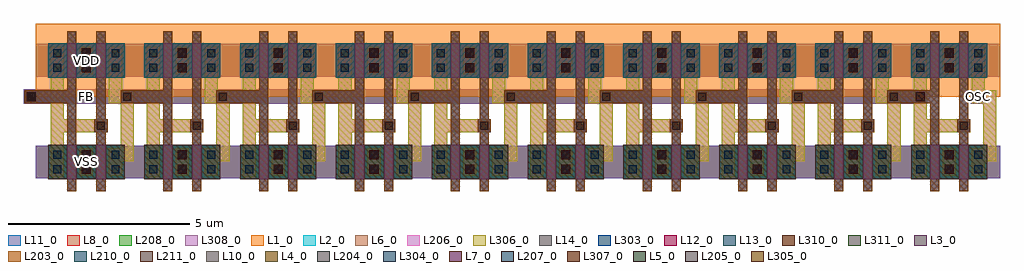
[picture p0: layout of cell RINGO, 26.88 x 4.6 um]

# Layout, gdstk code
import gdstk
lib = gdstk.Library(unit=1e-6, precision=1e-09)
def R(c, l, rs):  # rectangles x0, y0, x1, y1
    for r in rs: c.add(gdstk.rectangle(r[:2], r[2:], *l))
def A(c, l, x, y, w, h, nx, ny, dx, dy):  # array of equal rectangles
    R(c, l, [(x+i*dx, y+j*dy, x+i*dx+w, y+j*dy+h) for i in range(nx) for j in range(ny)])
def P(c, l, *ps):  # polygons
    for p in ps: c.add(gdstk.Polygon(p, *l))
L1_0 = (1, 0)
L2_0 = (2, 0)
L3_0 = (3, 0)
L4_0 = (4, 0)
L5_0 = (5, 0)
L6_0 = (6, 0)
L7_0 = (7, 0)
L8_0 = (8, 0)
L10_0 = (10, 0)
L11_0 = (11, 0)
L12_0 = (12, 0)
L13_0 = (13, 0)
L14_0 = (14, 0)
L203_0 = (203, 0)
L204_0 = (204, 0)
L205_0 = (205, 0)
L206_0 = (206, 0)
L207_0 = (207, 0)
L208_0 = (208, 0)
L210_0 = (210, 0)
L211_0 = (211, 0)
L303_0 = (303, 0)
L304_0 = (304, 0)
L305_0 = (305, 0)
L306_0 = (306, 0)
L307_0 = (307, 0)
L308_0 = (308, 0)
L310_0 = (310, 0)
L311_0 = (311, 0)

net_trans__1 = lib.new_cell('NET_TRANS_$1')
R(net_trans__1, L204_0, [(-0.51,-0.31,-0.29,-0.09), (-0.51,0.09,-0.29,0.31)])
R(net_trans__1, L206_0, [(-0.58,-0.38,-0.22,0.38)])

net_trans__2 = lib.new_cell('NET_TRANS_$2')
R(net_trans__2, L204_0, [(0.29,-0.31,0.51,-0.09), (0.29,0.09,0.51,0.31)])
R(net_trans__2, L206_0, [(0.22,-0.38,0.58,0.38)])

net_trans__3 = lib.new_cell('NET_TRANS_$3')
R(net_trans__3, L203_0, [(-0.125,-0.8,0.125,0.8)])

trans = lib.new_cell('TRANS')
R(trans, L2_0, [(-0.65,-0.475,0.65,0.475)])
R(trans, L4_0, [(-0.51,-0.31,-0.29,-0.09), (0.29,-0.31,0.51,-0.09), (-0.51,0.09,-0.29,0.31), (0.29,0.09,0.51,0.31)])
R(trans, L6_0, [(-0.58,-0.38,-0.22,0.38), (0.22,-0.38,0.58,0.38)])
R(trans, L14_0, [(-0.125,-0.8,0.125,0.8)])
trans.add(gdstk.FlexPath([(0,-0.8),(0,0.8)], 0.25, ends="flush", simple_path=True, layer=3, datatype=0))  # L3_0
trans.add(gdstk.Reference(net_trans__1, (0,0)))
trans.add(gdstk.Reference(net_trans__2, (0,0)))
trans.add(gdstk.Reference(net_trans__3, (0,0)))

net_inv2_in = lib.new_cell('NET_INV2_IN')
R(net_inv2_in, L203_0, [(-0.525,-0.25,-0.275,2.25), (-1.7,1.62,-0.4,1.98)])
R(net_inv2_in, L205_0, [(-1.63,1.69,-1.41,1.91)])

net_inv2__2 = lib.new_cell('NET_INV2_$2')
R(net_inv2__2, L203_0, [(0.275,-0.25,0.525,2.25), (0.22,0.82,0.58,1.18)])
R(net_inv2__2, L205_0, [(0.29,0.89,0.51,1.11)])
R(net_inv2__2, L206_0, [(-0.98,-0.42,-0.62,2.42), (-0.8,0.82,0.58,1.18)])
R(net_inv2__2, L210_0, [(-1.05,2.325,-0.525,3.275)])
R(net_inv2__2, L211_0, [(-1.05,-0.475,-0.525,0.475)])

net_inv2_out = lib.new_cell('NET_INV2_OUT')
P(net_inv2_out, L206_0, [(0.8,0.02),(0.8,0.38),(0.94,0.38),(0.94,1.62),(0.62,1.62),(0.62,2.42),(0.98,2.42),(0.98,1.98),(1.3,1.98),(1.3,0.02)])
R(net_inv2_out, L210_0, [(0.525,2.325,1.05,3.275)])
R(net_inv2_out, L211_0, [(0.525,-0.475,1.05,0.475)])

net_inv2__4 = lib.new_cell('NET_INV2_$4')
R(net_inv2__4, L207_0, [(-0.125,-0.325,0.125,-0.075), (-0.125,0.075,0.125,0.325)])
R(net_inv2__4, L208_0, [(-1.4,-0.45,1.4,0.45)])
R(net_inv2__4, L211_0, [(-0.275,-0.475,0.275,0.475)])

net_inv2__5 = lib.new_cell('NET_INV2_$5')
R(net_inv2__5, L207_0, [(-0.125,2.475,0.125,2.725), (-0.125,2.875,0.125,3.125)])
R(net_inv2__5, L208_0, [(-1.4,2.35,1.4,3.25)])
R(net_inv2__5, L210_0, [(-0.275,2.325,0.275,3.275)])

d_pmos = lib.new_cell('D$PMOS')
R(d_pmos, L11_0, [(-0.65,-0.475,-0.125,0.475), (0.125,-0.475,0.675,0.475)])
R(d_pmos, L12_0, [(-0.65,-0.475,-0.125,0.475), (0.125,-0.475,0.675,0.475)])
R(d_pmos, L14_0, [(-0.125,-0.475,0.125,0.475)])

d_pmos_1 = lib.new_cell('D$PMOS$1')
R(d_pmos_1, L11_0, [(-0.675,-0.475,-0.125,0.475), (0.125,-0.475,0.65,0.475)])
R(d_pmos_1, L12_0, [(-0.675,-0.475,-0.125,0.475), (0.125,-0.475,0.65,0.475)])
R(d_pmos_1, L14_0, [(-0.125,-0.475,0.125,0.475)])

d_nmos = lib.new_cell('D$NMOS')
R(d_nmos, L11_0, [(-0.65,-0.475,-0.125,0.475), (0.125,-0.475,0.675,0.475)])
R(d_nmos, L13_0, [(-0.65,-0.475,-0.125,0.475), (0.125,-0.475,0.675,0.475)])
R(d_nmos, L14_0, [(-0.125,-0.475,0.125,0.475)])

d_nmos_1 = lib.new_cell('D$NMOS$1')
R(d_nmos_1, L11_0, [(-0.675,-0.475,-0.125,0.475), (0.125,-0.475,0.65,0.475)])
R(d_nmos_1, L13_0, [(-0.675,-0.475,-0.125,0.475), (0.125,-0.475,0.65,0.475)])
R(d_nmos_1, L14_0, [(-0.125,-0.475,0.125,0.475)])

inv2 = lib.new_cell('INV2')
R(inv2, L1_0, [(-1.4,1.8,1.4,3.8)])
R(inv2, L3_0, [(-0.525,-0.25,-0.275,2.25), (0.275,-0.25,0.525,2.25), (0.22,0.82,0.58,1.18), (-1.7,1.62,-0.4,1.98)])
R(inv2, L5_0, [(0.29,0.89,0.51,1.11), (-1.63,1.69,-1.41,1.91)])
R(inv2, L6_0, [(-0.98,-0.42,-0.62,2.42), (-0.8,0.82,0.58,1.18)])
R(inv2, L7_0, [(-0.125,-0.325,0.125,-0.075), (-0.125,0.075,0.125,0.325), (-0.125,2.475,0.125,2.725), (-0.125,2.875,0.125,3.125)])
R(inv2, L8_0, [(-1.4,-0.45,1.4,0.45), (-1.4,2.35,1.4,3.25)])
R(inv2, L10_0, [(-0.525,-0.475,-0.275,0.475), (0.275,-0.475,0.525,0.475), (-0.525,2.325,-0.275,3.275), (0.275,2.325,0.525,3.275)])
R(inv2, L11_0, [(-1.05,-0.475,-0.525,0.475), (-0.275,-0.475,0.275,0.475), (0.525,-0.475,1.05,0.475), (-1.05,2.325,-0.525,3.275), (-0.275,2.325,0.275,3.275), (0.525,2.325,1.05,3.275)])
R(inv2, L12_0, [(-1.05,2.325,-0.525,3.275), (-0.275,2.325,0.275,3.275), (0.525,2.325,1.05,3.275)])
R(inv2, L13_0, [(-1.05,-0.475,-0.525,0.475), (-0.275,-0.475,0.275,0.475), (0.525,-0.475,1.05,0.475)])
R(inv2, L14_0, [(-0.525,-0.25,-0.275,2.25), (0.275,-0.25,0.525,2.25), (0.22,0.82,0.58,1.18), (-1.7,1.62,-0.4,1.98)])
inv2.add(gdstk.FlexPath([(0.8,0.2),(1.12,0.2),(1.12,1.8),(0.8,1.8),(0.8,2.42)], 0.36, ends="flush", simple_path=True, layer=6, datatype=0))  # L6_0
inv2.add(gdstk.Reference(trans, (-0.4,0)))
inv2.add(gdstk.Reference(trans, (-0.4,2.8)))
inv2.add(gdstk.Reference(trans, (0.4,0), x_reflection=True))
inv2.add(gdstk.Reference(trans, (0.4,2.8), x_reflection=True))
inv2.add(gdstk.Reference(net_inv2_in, (0,0)))
inv2.add(gdstk.Reference(net_inv2__2, (0,0)))
inv2.add(gdstk.Reference(net_inv2_out, (0,0)))
inv2.add(gdstk.Reference(net_inv2__4, (0,0)))
inv2.add(gdstk.Reference(net_inv2__5, (0,0)))
inv2.add(gdstk.Reference(d_pmos, (-0.4,2.8)))
inv2.add(gdstk.Reference(d_pmos_1, (0.4,2.8)))
inv2.add(gdstk.Reference(d_nmos, (-0.4,0)))
inv2.add(gdstk.Reference(d_nmos_1, (0.4,0)))
inv2.add(gdstk.Label('IN', (-0.8,1.8), layer=3, texttype=1))
inv2.add(gdstk.Label('OUT', (0.8,1.8), layer=6, texttype=1))

net_ringo_fb = lib.new_cell('NET_RINGO_FB')
R(net_ringo_fb, L206_0, [(-1.7,1.62,-1.34,1.98)])
R(net_ringo_fb, L207_0, [(-1.645,1.675,-1.395,1.925), (22.835,1.675,23.085,1.925)])
R(net_ringo_fb, L208_0, [(-1.72,1.6,23.16,2)])

net_ringo_osc = lib.new_cell('NET_RINGO_OSC')
R(net_ringo_osc, L207_0, [(24.435,1.675,24.685,1.925)])
R(net_ringo_osc, L208_0, [(24.36,1.6,24.76,2)])

rnet_ringo_fb = lib.new_cell('RNET_RINGO_FB')
R(rnet_ringo_fb, L303_0, [(-0.525,-0.8,-0.275,0.8), (24.035,-0.8,24.285,0.8), (-0.525,-0.475,-0.275,0.475), (24.035,-0.475,24.285,0.475), (-0.525,-0.25,-0.275,2.25), (24.035,-0.25,24.285,2.25), (23.98,0.82,24.34,1.18), (-1.7,1.62,-0.4,1.98), (-0.525,2,-0.275,3.6), (24.035,2,24.285,3.6), (-0.525,2.325,-0.275,3.275), (24.035,2.325,24.285,3.275)])
R(rnet_ringo_fb, L304_0, [(22.85,-0.31,23.07,-0.09), (22.85,0.09,23.07,0.31), (22.85,2.49,23.07,2.71), (22.85,2.89,23.07,3.11)])
R(rnet_ringo_fb, L305_0, [(24.05,0.89,24.27,1.11), (-1.63,1.69,-1.41,1.91)])
R(rnet_ringo_fb, L306_0, [(22.78,-0.42,23.14,2.42), (22.78,-0.38,23.14,0.38), (22.96,0.82,24.34,1.18), (-1.7,1.62,-1.34,1.98), (22.78,2.42,23.14,3.18)])
R(rnet_ringo_fb, L307_0, [(-1.645,1.675,-1.395,1.925), (22.835,1.675,23.085,1.925)])
R(rnet_ringo_fb, L308_0, [(-1.72,1.6,23.16,2)])
R(rnet_ringo_fb, L310_0, [(22.71,2.325,23.235,3.275), (22.71,2.325,23.235,3.275)])
R(rnet_ringo_fb, L311_0, [(22.71,-0.475,23.235,0.475), (22.71,-0.475,23.235,0.475)])

rnet_ringo_osc = lib.new_cell('RNET_RINGO_OSC')
R(rnet_ringo_osc, L304_0, [(24.45,-0.31,24.67,-0.09), (24.45,0.09,24.67,0.31), (24.45,2.49,24.67,2.71), (24.45,2.89,24.67,3.11)])
R(rnet_ringo_osc, L306_0, [(24.38,-0.38,24.74,0.38), (24.38,2.42,24.74,3.18)])
P(rnet_ringo_osc, L306_0, [(24.56,0.02),(24.56,0.38),(24.7,0.38),(24.7,1.62),(24.38,1.62),(24.38,2.42),(24.74,2.42),(24.74,1.98),(25.06,1.98),(25.06,0.02)])
R(rnet_ringo_osc, L307_0, [(24.435,1.675,24.685,1.925)])
R(rnet_ringo_osc, L308_0, [(24.36,1.6,24.76,2)])
R(rnet_ringo_osc, L310_0, [(24.285,2.325,24.81,3.275), (24.285,2.325,24.81,3.275)])
R(rnet_ringo_osc, L311_0, [(24.285,-0.475,24.81,0.475), (24.285,-0.475,24.81,0.475)])

rnet_ringo_vss = lib.new_cell('RNET_RINGO_VSS')
R(rnet_ringo_vss, L304_0, [(-0.11,-0.31,0.11,-0.09), (-0.11,-0.31,0.11,-0.09), (2.53,-0.31,2.75,-0.09), (2.53,-0.31,2.75,-0.09), (5.17,-0.31,5.39,-0.09), (5.17,-0.31,5.39,-0.09), (7.81,-0.31,8.03,-0.09), (7.81,-0.31,8.03,-0.09), (10.45,-0.31,10.67,-0.09), (10.45,-0.31,10.67,-0.09), (13.09,-0.31,13.31,-0.09), (13.09,-0.31,13.31,-0.09), (15.73,-0.31,15.95,-0.09), (15.73,-0.31,15.95,-0.09), (18.37,-0.31,18.59,-0.09), (18.37,-0.31,18.59,-0.09), (21.01,-0.31,21.23,-0.09), (21.01,-0.31,21.23,-0.09), (23.65,-0.31,23.87,-0.09), (23.65,-0.31,23.87,-0.09), (-0.11,0.09,0.11,0.31), (-0.11,0.09,0.11,0.31), (2.53,0.09,2.75,0.31), (2.53,0.09,2.75,0.31), (5.17,0.09,5.39,0.31), (5.17,0.09,5.39,0.31), (7.81,0.09,8.03,0.31), (7.81,0.09,8.03,0.31), (10.45,0.09,10.67,0.31), (10.45,0.09,10.67,0.31), (13.09,0.09,13.31,0.31), (13.09,0.09,13.31,0.31), (15.73,0.09,15.95,0.31), (15.73,0.09,15.95,0.31), (18.37,0.09,18.59,0.31), (18.37,0.09,18.59,0.31), (21.01,0.09,21.23,0.31), (21.01,0.09,21.23,0.31), (23.65,0.09,23.87,0.31), (23.65,0.09,23.87,0.31)])
R(rnet_ringo_vss, L306_0, [(-0.18,-0.38,0.18,0.38), (-0.18,-0.38,0.18,0.38), (2.46,-0.38,2.82,0.38), (2.46,-0.38,2.82,0.38), (5.1,-0.38,5.46,0.38), (5.1,-0.38,5.46,0.38), (7.74,-0.38,8.1,0.38), (7.74,-0.38,8.1,0.38), (10.38,-0.38,10.74,0.38), (10.38,-0.38,10.74,0.38), (13.02,-0.38,13.38,0.38), (13.02,-0.38,13.38,0.38), (15.66,-0.38,16.02,0.38), (15.66,-0.38,16.02,0.38), (18.3,-0.38,18.66,0.38), (18.3,-0.38,18.66,0.38), (20.94,-0.38,21.3,0.38), (20.94,-0.38,21.3,0.38), (23.58,-0.38,23.94,0.38), (23.58,-0.38,23.94,0.38)])
A(rnet_ringo_vss, L307_0, -0.125, -0.325, 0.25, 0.25, 10, 2, 2.64, 0.4)
A(rnet_ringo_vss, L308_0, -1.4, -0.45, 2.8, 0.9, 10, 1, 2.64, 0)
R(rnet_ringo_vss, L311_0, [(-0.275,-0.475,0.275,0.475), (-0.275,-0.475,0.275,0.475), (-0.275,-0.475,0.275,0.475), (2.365,-0.475,2.915,0.475), (2.365,-0.475,2.915,0.475), (2.365,-0.475,2.915,0.475), (5.005,-0.475,5.555,0.475), (5.005,-0.475,5.555,0.475), (5.005,-0.475,5.555,0.475), (7.645,-0.475,8.195,0.475), (7.645,-0.475,8.195,0.475), (7.645,-0.475,8.195,0.475), (10.285,-0.475,10.835,0.475), (10.285,-0.475,10.835,0.475), (10.285,-0.475,10.835,0.475), (12.925,-0.475,13.475,0.475), (12.925,-0.475,13.475,0.475), (12.925,-0.475,13.475,0.475), (15.565,-0.475,16.115,0.475), (15.565,-0.475,16.115,0.475), (15.565,-0.475,16.115,0.475), (18.205,-0.475,18.755,0.475), (18.205,-0.475,18.755,0.475), (18.205,-0.475,18.755,0.475), (20.845,-0.475,21.395,0.475), (20.845,-0.475,21.395,0.475), (20.845,-0.475,21.395,0.475), (23.485,-0.475,24.035,0.475), (23.485,-0.475,24.035,0.475), (23.485,-0.475,24.035,0.475)])

rnet_ringo_vdd = lib.new_cell('RNET_RINGO_VDD')
R(rnet_ringo_vdd, L304_0, [(-0.11,2.49,0.11,2.71), (-0.11,2.49,0.11,2.71), (2.53,2.49,2.75,2.71), (2.53,2.49,2.75,2.71), (5.17,2.49,5.39,2.71), (5.17,2.49,5.39,2.71), (7.81,2.49,8.03,2.71), (7.81,2.49,8.03,2.71), (10.45,2.49,10.67,2.71), (10.45,2.49,10.67,2.71), (13.09,2.49,13.31,2.71), (13.09,2.49,13.31,2.71), (15.73,2.49,15.95,2.71), (15.73,2.49,15.95,2.71), (18.37,2.49,18.59,2.71), (18.37,2.49,18.59,2.71), (21.01,2.49,21.23,2.71), (21.01,2.49,21.23,2.71), (23.65,2.49,23.87,2.71), (23.65,2.49,23.87,2.71), (-0.11,2.89,0.11,3.11), (-0.11,2.89,0.11,3.11), (2.53,2.89,2.75,3.11), (2.53,2.89,2.75,3.11), (5.17,2.89,5.39,3.11), (5.17,2.89,5.39,3.11), (7.81,2.89,8.03,3.11), (7.81,2.89,8.03,3.11), (10.45,2.89,10.67,3.11), (10.45,2.89,10.67,3.11), (13.09,2.89,13.31,3.11), (13.09,2.89,13.31,3.11), (15.73,2.89,15.95,3.11), (15.73,2.89,15.95,3.11), (18.37,2.89,18.59,3.11), (18.37,2.89,18.59,3.11), (21.01,2.89,21.23,3.11), (21.01,2.89,21.23,3.11), (23.65,2.89,23.87,3.11), (23.65,2.89,23.87,3.11)])
R(rnet_ringo_vdd, L306_0, [(-0.18,2.42,0.18,3.18), (-0.18,2.42,0.18,3.18), (2.46,2.42,2.82,3.18), (2.46,2.42,2.82,3.18), (5.1,2.42,5.46,3.18), (5.1,2.42,5.46,3.18), (7.74,2.42,8.1,3.18), (7.74,2.42,8.1,3.18), (10.38,2.42,10.74,3.18), (10.38,2.42,10.74,3.18), (13.02,2.42,13.38,3.18), (13.02,2.42,13.38,3.18), (15.66,2.42,16.02,3.18), (15.66,2.42,16.02,3.18), (18.3,2.42,18.66,3.18), (18.3,2.42,18.66,3.18), (20.94,2.42,21.3,3.18), (20.94,2.42,21.3,3.18), (23.58,2.42,23.94,3.18), (23.58,2.42,23.94,3.18)])
A(rnet_ringo_vdd, L307_0, -0.125, 2.475, 0.25, 0.25, 10, 2, 2.64, 0.4)
A(rnet_ringo_vdd, L308_0, -1.4, 2.35, 2.8, 0.9, 10, 1, 2.64, 0)
R(rnet_ringo_vdd, L310_0, [(-0.275,2.325,0.275,3.275), (-0.275,2.325,0.275,3.275), (-0.275,2.325,0.275,3.275), (2.365,2.325,2.915,3.275), (2.365,2.325,2.915,3.275), (2.365,2.325,2.915,3.275), (5.005,2.325,5.555,3.275), (5.005,2.325,5.555,3.275), (5.005,2.325,5.555,3.275), (7.645,2.325,8.195,3.275), (7.645,2.325,8.195,3.275), (7.645,2.325,8.195,3.275), (10.285,2.325,10.835,3.275), (10.285,2.325,10.835,3.275), (10.285,2.325,10.835,3.275), (12.925,2.325,13.475,3.275), (12.925,2.325,13.475,3.275), (12.925,2.325,13.475,3.275), (15.565,2.325,16.115,3.275), (15.565,2.325,16.115,3.275), (15.565,2.325,16.115,3.275), (18.205,2.325,18.755,3.275), (18.205,2.325,18.755,3.275), (18.205,2.325,18.755,3.275), (20.845,2.325,21.395,3.275), (20.845,2.325,21.395,3.275), (20.845,2.325,21.395,3.275), (23.485,2.325,24.035,3.275), (23.485,2.325,24.035,3.275), (23.485,2.325,24.035,3.275)])

rnet_ringo__i46 = lib.new_cell('RNET_RINGO_$I46')
R(rnet_ringo__i46, L303_0, [(21.395,-0.8,21.645,0.8), (21.395,-0.475,21.645,0.475), (21.395,-0.25,21.645,2.25), (21.34,0.82,21.7,1.18), (21.395,2,21.645,3.6), (21.395,2.325,21.645,3.275)])
R(rnet_ringo__i46, L304_0, [(20.21,-0.31,20.43,-0.09), (20.21,0.09,20.43,0.31), (20.21,2.49,20.43,2.71), (20.21,2.89,20.43,3.11)])
R(rnet_ringo__i46, L305_0, [(21.41,0.89,21.63,1.11)])
R(rnet_ringo__i46, L306_0, [(20.14,-0.42,20.5,2.42), (20.14,-0.38,20.5,0.38), (20.32,0.82,21.7,1.18), (20.14,2.42,20.5,3.18)])
R(rnet_ringo__i46, L310_0, [(20.07,2.325,20.595,3.275), (20.07,2.325,20.595,3.275)])
R(rnet_ringo__i46, L311_0, [(20.07,-0.475,20.595,0.475), (20.07,-0.475,20.595,0.475)])

rnet_ringo__i45 = lib.new_cell('RNET_RINGO_$I45')
R(rnet_ringo__i45, L303_0, [(18.755,-0.8,19.005,0.8), (18.755,-0.475,19.005,0.475), (18.755,-0.25,19.005,2.25), (18.7,0.82,19.06,1.18), (18.755,2,19.005,3.6), (18.755,2.325,19.005,3.275)])
R(rnet_ringo__i45, L304_0, [(17.57,-0.31,17.79,-0.09), (17.57,0.09,17.79,0.31), (17.57,2.49,17.79,2.71), (17.57,2.89,17.79,3.11)])
R(rnet_ringo__i45, L305_0, [(18.77,0.89,18.99,1.11)])
R(rnet_ringo__i45, L306_0, [(17.5,-0.42,17.86,2.42), (17.5,-0.38,17.86,0.38), (17.68,0.82,19.06,1.18), (17.5,2.42,17.86,3.18)])
R(rnet_ringo__i45, L310_0, [(17.43,2.325,17.955,3.275), (17.43,2.325,17.955,3.275)])
R(rnet_ringo__i45, L311_0, [(17.43,-0.475,17.955,0.475), (17.43,-0.475,17.955,0.475)])

rnet_ringo__i44 = lib.new_cell('RNET_RINGO_$I44')
R(rnet_ringo__i44, L303_0, [(16.115,-0.8,16.365,0.8), (16.115,-0.475,16.365,0.475), (16.115,-0.25,16.365,2.25), (16.06,0.82,16.42,1.18), (16.115,2,16.365,3.6), (16.115,2.325,16.365,3.275)])
R(rnet_ringo__i44, L304_0, [(14.93,-0.31,15.15,-0.09), (14.93,0.09,15.15,0.31), (14.93,2.49,15.15,2.71), (14.93,2.89,15.15,3.11)])
R(rnet_ringo__i44, L305_0, [(16.13,0.89,16.35,1.11)])
R(rnet_ringo__i44, L306_0, [(14.86,-0.42,15.22,2.42), (14.86,-0.38,15.22,0.38), (15.04,0.82,16.42,1.18), (14.86,2.42,15.22,3.18)])
R(rnet_ringo__i44, L310_0, [(14.79,2.325,15.315,3.275), (14.79,2.325,15.315,3.275)])
R(rnet_ringo__i44, L311_0, [(14.79,-0.475,15.315,0.475), (14.79,-0.475,15.315,0.475)])

rnet_ringo__i43 = lib.new_cell('RNET_RINGO_$I43')
R(rnet_ringo__i43, L303_0, [(13.475,-0.8,13.725,0.8), (13.475,-0.475,13.725,0.475), (13.475,-0.25,13.725,2.25), (13.42,0.82,13.78,1.18), (13.475,2,13.725,3.6), (13.475,2.325,13.725,3.275)])
R(rnet_ringo__i43, L304_0, [(12.29,-0.31,12.51,-0.09), (12.29,0.09,12.51,0.31), (12.29,2.49,12.51,2.71), (12.29,2.89,12.51,3.11)])
R(rnet_ringo__i43, L305_0, [(13.49,0.89,13.71,1.11)])
R(rnet_ringo__i43, L306_0, [(12.22,-0.42,12.58,2.42), (12.22,-0.38,12.58,0.38), (12.4,0.82,13.78,1.18), (12.22,2.42,12.58,3.18)])
R(rnet_ringo__i43, L310_0, [(12.15,2.325,12.675,3.275), (12.15,2.325,12.675,3.275)])
R(rnet_ringo__i43, L311_0, [(12.15,-0.475,12.675,0.475), (12.15,-0.475,12.675,0.475)])

rnet_ringo__i42 = lib.new_cell('RNET_RINGO_$I42')
R(rnet_ringo__i42, L303_0, [(10.835,-0.8,11.085,0.8), (10.835,-0.475,11.085,0.475), (10.835,-0.25,11.085,2.25), (10.78,0.82,11.14,1.18), (10.835,2,11.085,3.6), (10.835,2.325,11.085,3.275)])
R(rnet_ringo__i42, L304_0, [(9.65,-0.31,9.87,-0.09), (9.65,0.09,9.87,0.31), (9.65,2.49,9.87,2.71), (9.65,2.89,9.87,3.11)])
R(rnet_ringo__i42, L305_0, [(10.85,0.89,11.07,1.11)])
R(rnet_ringo__i42, L306_0, [(9.58,-0.42,9.94,2.42), (9.58,-0.38,9.94,0.38), (9.76,0.82,11.14,1.18), (9.58,2.42,9.94,3.18)])
R(rnet_ringo__i42, L310_0, [(9.51,2.325,10.035,3.275), (9.51,2.325,10.035,3.275)])
R(rnet_ringo__i42, L311_0, [(9.51,-0.475,10.035,0.475), (9.51,-0.475,10.035,0.475)])

rnet_ringo__i41 = lib.new_cell('RNET_RINGO_$I41')
R(rnet_ringo__i41, L303_0, [(8.195,-0.8,8.445,0.8), (8.195,-0.475,8.445,0.475), (8.195,-0.25,8.445,2.25), (8.14,0.82,8.5,1.18), (8.195,2,8.445,3.6), (8.195,2.325,8.445,3.275)])
R(rnet_ringo__i41, L304_0, [(7.01,-0.31,7.23,-0.09), (7.01,0.09,7.23,0.31), (7.01,2.49,7.23,2.71), (7.01,2.89,7.23,3.11)])
R(rnet_ringo__i41, L305_0, [(8.21,0.89,8.43,1.11)])
R(rnet_ringo__i41, L306_0, [(6.94,-0.42,7.3,2.42), (6.94,-0.38,7.3,0.38), (7.12,0.82,8.5,1.18), (6.94,2.42,7.3,3.18)])
R(rnet_ringo__i41, L310_0, [(6.87,2.325,7.395,3.275), (6.87,2.325,7.395,3.275)])
R(rnet_ringo__i41, L311_0, [(6.87,-0.475,7.395,0.475), (6.87,-0.475,7.395,0.475)])

rnet_ringo__i40 = lib.new_cell('RNET_RINGO_$I40')
R(rnet_ringo__i40, L303_0, [(5.555,-0.8,5.805,0.8), (5.555,-0.475,5.805,0.475), (5.555,-0.25,5.805,2.25), (5.5,0.82,5.86,1.18), (5.555,2,5.805,3.6), (5.555,2.325,5.805,3.275)])
R(rnet_ringo__i40, L304_0, [(4.37,-0.31,4.59,-0.09), (4.37,0.09,4.59,0.31), (4.37,2.49,4.59,2.71), (4.37,2.89,4.59,3.11)])
R(rnet_ringo__i40, L305_0, [(5.57,0.89,5.79,1.11)])
R(rnet_ringo__i40, L306_0, [(4.3,-0.42,4.66,2.42), (4.3,-0.38,4.66,0.38), (4.48,0.82,5.86,1.18), (4.3,2.42,4.66,3.18)])
R(rnet_ringo__i40, L310_0, [(4.23,2.325,4.755,3.275), (4.23,2.325,4.755,3.275)])
R(rnet_ringo__i40, L311_0, [(4.23,-0.475,4.755,0.475), (4.23,-0.475,4.755,0.475)])

rnet_ringo__i39 = lib.new_cell('RNET_RINGO_$I39')
R(rnet_ringo__i39, L303_0, [(2.915,-0.8,3.165,0.8), (2.915,-0.475,3.165,0.475), (2.915,-0.25,3.165,2.25), (2.86,0.82,3.22,1.18), (2.915,2,3.165,3.6), (2.915,2.325,3.165,3.275)])
R(rnet_ringo__i39, L304_0, [(1.73,-0.31,1.95,-0.09), (1.73,0.09,1.95,0.31), (1.73,2.49,1.95,2.71), (1.73,2.89,1.95,3.11)])
R(rnet_ringo__i39, L305_0, [(2.93,0.89,3.15,1.11)])
R(rnet_ringo__i39, L306_0, [(1.66,-0.42,2.02,2.42), (1.66,-0.38,2.02,0.38), (1.84,0.82,3.22,1.18), (1.66,2.42,2.02,3.18)])
R(rnet_ringo__i39, L310_0, [(1.59,2.325,2.115,3.275), (1.59,2.325,2.115,3.275)])
R(rnet_ringo__i39, L311_0, [(1.59,-0.475,2.115,0.475), (1.59,-0.475,2.115,0.475)])

rnet_ringo__i38 = lib.new_cell('RNET_RINGO_$I38')
R(rnet_ringo__i38, L303_0, [(0.275,-0.8,0.525,0.8), (0.275,-0.475,0.525,0.475), (0.275,-0.25,0.525,2.25), (0.22,0.82,0.58,1.18), (0.275,2,0.525,3.6), (0.275,2.325,0.525,3.275)])
R(rnet_ringo__i38, L304_0, [(-0.91,-0.31,-0.69,-0.09), (-0.91,0.09,-0.69,0.31), (-0.91,2.49,-0.69,2.71), (-0.91,2.89,-0.69,3.11)])
R(rnet_ringo__i38, L305_0, [(0.29,0.89,0.51,1.11)])
R(rnet_ringo__i38, L306_0, [(-0.98,-0.42,-0.62,2.42), (-0.98,-0.38,-0.62,0.38), (-0.8,0.82,0.58,1.18), (-0.98,2.42,-0.62,3.18)])
R(rnet_ringo__i38, L310_0, [(-1.05,2.325,-0.525,3.275), (-1.05,2.325,-0.525,3.275)])
R(rnet_ringo__i38, L311_0, [(-1.05,-0.475,-0.525,0.475), (-1.05,-0.475,-0.525,0.475)])

rnet_ringo__i19 = lib.new_cell('RNET_RINGO_$I19')
R(rnet_ringo__i19, L303_0, [(2.115,-0.8,2.365,0.8), (2.115,-0.475,2.365,0.475), (2.115,-0.25,2.365,2.25), (0.94,1.62,2.24,1.98), (2.115,2,2.365,3.6), (2.115,2.325,2.365,3.275)])
R(rnet_ringo__i19, L304_0, [(0.69,-0.31,0.91,-0.09), (0.69,0.09,0.91,0.31), (0.69,2.49,0.91,2.71), (0.69,2.89,0.91,3.11)])
R(rnet_ringo__i19, L305_0, [(1.01,1.69,1.23,1.91)])
R(rnet_ringo__i19, L306_0, [(0.62,-0.38,0.98,0.38), (0.62,2.42,0.98,3.18)])
P(rnet_ringo__i19, L306_0, [(0.8,0.02),(0.8,0.38),(0.94,0.38),(0.94,1.62),(0.62,1.62),(0.62,2.42),(0.98,2.42),(0.98,1.98),(1.3,1.98),(1.3,0.02)])
R(rnet_ringo__i19, L310_0, [(0.525,2.325,1.05,3.275), (0.525,2.325,1.05,3.275)])
R(rnet_ringo__i19, L311_0, [(0.525,-0.475,1.05,0.475), (0.525,-0.475,1.05,0.475)])

rnet_ringo__i18 = lib.new_cell('RNET_RINGO_$I18')
R(rnet_ringo__i18, L303_0, [(23.235,-0.8,23.485,0.8), (23.235,-0.475,23.485,0.475), (23.235,-0.25,23.485,2.25), (22.06,1.62,23.36,1.98), (23.235,2,23.485,3.6), (23.235,2.325,23.485,3.275)])
R(rnet_ringo__i18, L304_0, [(21.81,-0.31,22.03,-0.09), (21.81,0.09,22.03,0.31), (21.81,2.49,22.03,2.71), (21.81,2.89,22.03,3.11)])
R(rnet_ringo__i18, L305_0, [(22.13,1.69,22.35,1.91)])
R(rnet_ringo__i18, L306_0, [(21.74,-0.38,22.1,0.38), (21.74,2.42,22.1,3.18)])
P(rnet_ringo__i18, L306_0, [(21.92,0.02),(21.92,0.38),(22.06,0.38),(22.06,1.62),(21.74,1.62),(21.74,2.42),(22.1,2.42),(22.1,1.98),(22.42,1.98),(22.42,0.02)])
R(rnet_ringo__i18, L310_0, [(21.645,2.325,22.17,3.275), (21.645,2.325,22.17,3.275)])
R(rnet_ringo__i18, L311_0, [(21.645,-0.475,22.17,0.475), (21.645,-0.475,22.17,0.475)])

rnet_ringo__i17 = lib.new_cell('RNET_RINGO_$I17')
R(rnet_ringo__i17, L303_0, [(20.595,-0.8,20.845,0.8), (20.595,-0.475,20.845,0.475), (20.595,-0.25,20.845,2.25), (19.42,1.62,20.72,1.98), (20.595,2,20.845,3.6), (20.595,2.325,20.845,3.275)])
R(rnet_ringo__i17, L304_0, [(19.17,-0.31,19.39,-0.09), (19.17,0.09,19.39,0.31), (19.17,2.49,19.39,2.71), (19.17,2.89,19.39,3.11)])
R(rnet_ringo__i17, L305_0, [(19.49,1.69,19.71,1.91)])
R(rnet_ringo__i17, L306_0, [(19.1,-0.38,19.46,0.38), (19.1,2.42,19.46,3.18)])
P(rnet_ringo__i17, L306_0, [(19.28,0.02),(19.28,0.38),(19.42,0.38),(19.42,1.62),(19.1,1.62),(19.1,2.42),(19.46,2.42),(19.46,1.98),(19.78,1.98),(19.78,0.02)])
R(rnet_ringo__i17, L310_0, [(19.005,2.325,19.53,3.275), (19.005,2.325,19.53,3.275)])
R(rnet_ringo__i17, L311_0, [(19.005,-0.475,19.53,0.475), (19.005,-0.475,19.53,0.475)])

rnet_ringo__i16 = lib.new_cell('RNET_RINGO_$I16')
R(rnet_ringo__i16, L303_0, [(17.955,-0.8,18.205,0.8), (17.955,-0.475,18.205,0.475), (17.955,-0.25,18.205,2.25), (16.78,1.62,18.08,1.98), (17.955,2,18.205,3.6), (17.955,2.325,18.205,3.275)])
R(rnet_ringo__i16, L304_0, [(16.53,-0.31,16.75,-0.09), (16.53,0.09,16.75,0.31), (16.53,2.49,16.75,2.71), (16.53,2.89,16.75,3.11)])
R(rnet_ringo__i16, L305_0, [(16.85,1.69,17.07,1.91)])
R(rnet_ringo__i16, L306_0, [(16.46,-0.38,16.82,0.38), (16.46,2.42,16.82,3.18)])
P(rnet_ringo__i16, L306_0, [(16.64,0.02),(16.64,0.38),(16.78,0.38),(16.78,1.62),(16.46,1.62),(16.46,2.42),(16.82,2.42),(16.82,1.98),(17.14,1.98),(17.14,0.02)])
R(rnet_ringo__i16, L310_0, [(16.365,2.325,16.89,3.275), (16.365,2.325,16.89,3.275)])
R(rnet_ringo__i16, L311_0, [(16.365,-0.475,16.89,0.475), (16.365,-0.475,16.89,0.475)])

rnet_ringo__i15 = lib.new_cell('RNET_RINGO_$I15')
R(rnet_ringo__i15, L303_0, [(15.315,-0.8,15.565,0.8), (15.315,-0.475,15.565,0.475), (15.315,-0.25,15.565,2.25), (14.14,1.62,15.44,1.98), (15.315,2,15.565,3.6), (15.315,2.325,15.565,3.275)])
R(rnet_ringo__i15, L304_0, [(13.89,-0.31,14.11,-0.09), (13.89,0.09,14.11,0.31), (13.89,2.49,14.11,2.71), (13.89,2.89,14.11,3.11)])
R(rnet_ringo__i15, L305_0, [(14.21,1.69,14.43,1.91)])
R(rnet_ringo__i15, L306_0, [(13.82,-0.38,14.18,0.38), (13.82,2.42,14.18,3.18)])
P(rnet_ringo__i15, L306_0, [(14,0.02),(14,0.38),(14.14,0.38),(14.14,1.62),(13.82,1.62),(13.82,2.42),(14.18,2.42),(14.18,1.98),(14.5,1.98),(14.5,0.02)])
R(rnet_ringo__i15, L310_0, [(13.725,2.325,14.25,3.275), (13.725,2.325,14.25,3.275)])
R(rnet_ringo__i15, L311_0, [(13.725,-0.475,14.25,0.475), (13.725,-0.475,14.25,0.475)])

rnet_ringo__i14 = lib.new_cell('RNET_RINGO_$I14')
R(rnet_ringo__i14, L303_0, [(12.675,-0.8,12.925,0.8), (12.675,-0.475,12.925,0.475), (12.675,-0.25,12.925,2.25), (11.5,1.62,12.8,1.98), (12.675,2,12.925,3.6), (12.675,2.325,12.925,3.275)])
R(rnet_ringo__i14, L304_0, [(11.25,-0.31,11.47,-0.09), (11.25,0.09,11.47,0.31), (11.25,2.49,11.47,2.71), (11.25,2.89,11.47,3.11)])
R(rnet_ringo__i14, L305_0, [(11.57,1.69,11.79,1.91)])
R(rnet_ringo__i14, L306_0, [(11.18,-0.38,11.54,0.38), (11.18,2.42,11.54,3.18)])
P(rnet_ringo__i14, L306_0, [(11.36,0.02),(11.36,0.38),(11.5,0.38),(11.5,1.62),(11.18,1.62),(11.18,2.42),(11.54,2.42),(11.54,1.98),(11.86,1.98),(11.86,0.02)])
R(rnet_ringo__i14, L310_0, [(11.085,2.325,11.61,3.275), (11.085,2.325,11.61,3.275)])
R(rnet_ringo__i14, L311_0, [(11.085,-0.475,11.61,0.475), (11.085,-0.475,11.61,0.475)])

rnet_ringo__i13 = lib.new_cell('RNET_RINGO_$I13')
R(rnet_ringo__i13, L303_0, [(10.035,-0.8,10.285,0.8), (10.035,-0.475,10.285,0.475), (10.035,-0.25,10.285,2.25), (8.86,1.62,10.16,1.98), (10.035,2,10.285,3.6), (10.035,2.325,10.285,3.275)])
R(rnet_ringo__i13, L304_0, [(8.61,-0.31,8.83,-0.09), (8.61,0.09,8.83,0.31), (8.61,2.49,8.83,2.71), (8.61,2.89,8.83,3.11)])
R(rnet_ringo__i13, L305_0, [(8.93,1.69,9.15,1.91)])
R(rnet_ringo__i13, L306_0, [(8.54,-0.38,8.9,0.38), (8.54,2.42,8.9,3.18)])
P(rnet_ringo__i13, L306_0, [(8.72,0.02),(8.72,0.38),(8.86,0.38),(8.86,1.62),(8.54,1.62),(8.54,2.42),(8.9,2.42),(8.9,1.98),(9.22,1.98),(9.22,0.02)])
R(rnet_ringo__i13, L310_0, [(8.445,2.325,8.97,3.275), (8.445,2.325,8.97,3.275)])
R(rnet_ringo__i13, L311_0, [(8.445,-0.475,8.97,0.475), (8.445,-0.475,8.97,0.475)])

rnet_ringo__i12 = lib.new_cell('RNET_RINGO_$I12')
R(rnet_ringo__i12, L303_0, [(7.395,-0.8,7.645,0.8), (7.395,-0.475,7.645,0.475), (7.395,-0.25,7.645,2.25), (6.22,1.62,7.52,1.98), (7.395,2,7.645,3.6), (7.395,2.325,7.645,3.275)])
R(rnet_ringo__i12, L304_0, [(5.97,-0.31,6.19,-0.09), (5.97,0.09,6.19,0.31), (5.97,2.49,6.19,2.71), (5.97,2.89,6.19,3.11)])
R(rnet_ringo__i12, L305_0, [(6.29,1.69,6.51,1.91)])
R(rnet_ringo__i12, L306_0, [(5.9,-0.38,6.26,0.38), (5.9,2.42,6.26,3.18)])
P(rnet_ringo__i12, L306_0, [(6.08,0.02),(6.08,0.38),(6.22,0.38),(6.22,1.62),(5.9,1.62),(5.9,2.42),(6.26,2.42),(6.26,1.98),(6.58,1.98),(6.58,0.02)])
R(rnet_ringo__i12, L310_0, [(5.805,2.325,6.33,3.275), (5.805,2.325,6.33,3.275)])
R(rnet_ringo__i12, L311_0, [(5.805,-0.475,6.33,0.475), (5.805,-0.475,6.33,0.475)])

rnet_ringo__i11 = lib.new_cell('RNET_RINGO_$I11')
R(rnet_ringo__i11, L303_0, [(4.755,-0.8,5.005,0.8), (4.755,-0.475,5.005,0.475), (4.755,-0.25,5.005,2.25), (3.58,1.62,4.88,1.98), (4.755,2,5.005,3.6), (4.755,2.325,5.005,3.275)])
R(rnet_ringo__i11, L304_0, [(3.33,-0.31,3.55,-0.09), (3.33,0.09,3.55,0.31), (3.33,2.49,3.55,2.71), (3.33,2.89,3.55,3.11)])
R(rnet_ringo__i11, L305_0, [(3.65,1.69,3.87,1.91)])
R(rnet_ringo__i11, L306_0, [(3.26,-0.38,3.62,0.38), (3.26,2.42,3.62,3.18)])
P(rnet_ringo__i11, L306_0, [(3.44,0.02),(3.44,0.38),(3.58,0.38),(3.58,1.62),(3.26,1.62),(3.26,2.42),(3.62,2.42),(3.62,1.98),(3.94,1.98),(3.94,0.02)])
R(rnet_ringo__i11, L310_0, [(3.165,2.325,3.69,3.275), (3.165,2.325,3.69,3.275)])
R(rnet_ringo__i11, L311_0, [(3.165,-0.475,3.69,0.475), (3.165,-0.475,3.69,0.475)])

ringo = lib.new_cell('RINGO')
R(ringo, L6_0, [(-1.7,1.62,-1.34,1.98)])
R(ringo, L7_0, [(-1.645,1.675,-1.395,1.925), (22.835,1.675,23.085,1.925), (24.435,1.675,24.685,1.925)])
R(ringo, L8_0, [(-1.72,1.6,23.16,2), (24.36,1.6,24.76,2)])
ringo.add(gdstk.Reference(inv2, (0,0)))
ringo.add(gdstk.Reference(inv2, (2.64,0)))
ringo.add(gdstk.Reference(inv2, (5.28,0)))
ringo.add(gdstk.Reference(inv2, (7.92,0)))
ringo.add(gdstk.Reference(inv2, (10.56,0)))
ringo.add(gdstk.Reference(inv2, (13.2,0)))
ringo.add(gdstk.Reference(inv2, (15.84,0)))
ringo.add(gdstk.Reference(inv2, (18.48,0)))
ringo.add(gdstk.Reference(inv2, (21.12,0)))
ringo.add(gdstk.Reference(inv2, (23.76,0)))
ringo.add(gdstk.Reference(net_ringo_fb, (0,0)))
ringo.add(gdstk.Reference(net_ringo_osc, (0,0)))
ringo.add(gdstk.Reference(rnet_ringo_fb, (0,0)))
ringo.add(gdstk.Reference(rnet_ringo_osc, (0,0)))
ringo.add(gdstk.Reference(rnet_ringo_vss, (0,0)))
ringo.add(gdstk.Reference(rnet_ringo_vdd, (0,0)))
ringo.add(gdstk.Reference(rnet_ringo__i46, (0,0)))
ringo.add(gdstk.Reference(rnet_ringo__i45, (0,0)))
ringo.add(gdstk.Reference(rnet_ringo__i44, (0,0)))
ringo.add(gdstk.Reference(rnet_ringo__i43, (0,0)))
ringo.add(gdstk.Reference(rnet_ringo__i42, (0,0)))
ringo.add(gdstk.Reference(rnet_ringo__i41, (0,0)))
ringo.add(gdstk.Reference(rnet_ringo__i40, (0,0)))
ringo.add(gdstk.Reference(rnet_ringo__i39, (0,0)))
ringo.add(gdstk.Reference(rnet_ringo__i38, (0,0)))
ringo.add(gdstk.Reference(rnet_ringo__i19, (0,0)))
ringo.add(gdstk.Reference(rnet_ringo__i18, (0,0)))
ringo.add(gdstk.Reference(rnet_ringo__i17, (0,0)))
ringo.add(gdstk.Reference(rnet_ringo__i16, (0,0)))
ringo.add(gdstk.Reference(rnet_ringo__i15, (0,0)))
ringo.add(gdstk.Reference(rnet_ringo__i14, (0,0)))
ringo.add(gdstk.Reference(rnet_ringo__i13, (0,0)))
ringo.add(gdstk.Reference(rnet_ringo__i12, (0,0)))
ringo.add(gdstk.Reference(rnet_ringo__i11, (0,0)))
ringo.add(gdstk.Label('OSC', (24.56,1.8), layer=8, texttype=1))
ringo.add(gdstk.Label('FB', (0,1.8), layer=8, texttype=1))
ringo.add(gdstk.Label('VSS', (0,0), layer=8, texttype=1))
ringo.add(gdstk.Label('VDD', (0,2.8), layer=8, texttype=1))

lib.write_gds('RINGO.gds')
